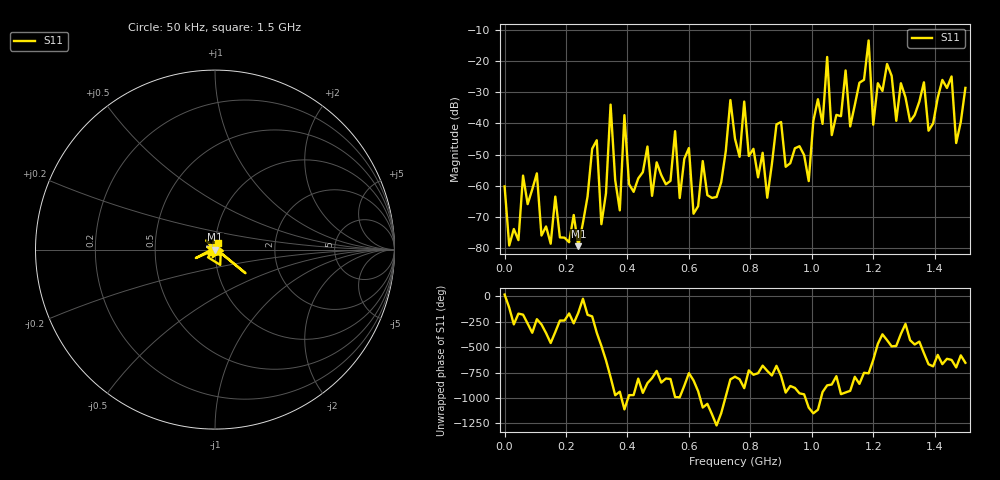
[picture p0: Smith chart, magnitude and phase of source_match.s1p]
! Created with skrf 1.8.0 (http://scikit-rf.org).
# Hz S RI R 50.0
!freq ReS11 ImS11
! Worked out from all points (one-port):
!   101 points, 50 kHz to 1.5 GHz, reference 50 ohm
!   lowest |S11| = -79.4 dB at 240 MHz (marker M1), VSWR 1.00, Z = 50 - j0.0036 ohm
!   |S11| at or under -10 dB: start of sweep to end of sweep
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50000  0.00092 0.00031
1.50495e7  -3.9e-05 -0.000102
1.050465e8  -0.00113 0.0011
1.950435e8  -7.84e-05 0.000123
2.40042e8  -0.0001 -3.6e-05
3.0004e8  0.00536 0.000197
3.150395e8  -0.000144 -0.000192
3.450385e8  0.00495 -0.0194
3.750375e8  -0.000313 0.000251
3.90037e8  0.0113 -0.00747
4.20036e8  -0.000246 0.000756
5.550315e8  0.000283 0.00749
5.70031e8  4.04e-05 0.000631
7.50025e8  0.00184 -0.00535
7.80024e8  -0.0224 0.00151
8.550215e8  0.000621 -0.000151
8.850205e8  0.00777 0.00569
9.450185e8  -0.00398 9.57e-05
9.90017e8  0.00114 -0.000319
1.050015e9  -0.1068 -0.047
1.065014e9  -0.00549 -0.00345
1.110013e9  -0.0489 0.0513
1.125012e9  -0.00772 0.0045
1.18501e9  0.1699 -0.1313
1.20001e9  -0.00067 0.00949
1.245008e9  0.0291 -0.0851
1.320006e9  0.00343 -0.0102
1.5e9  0.0149 0.034
